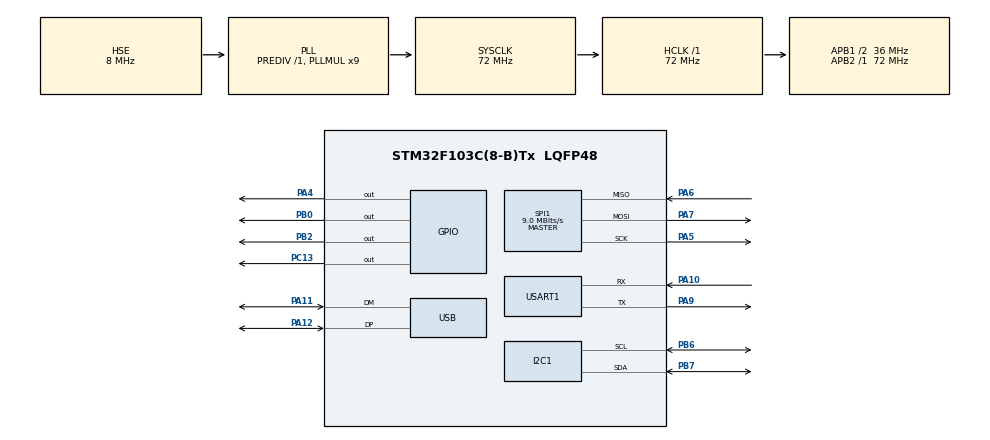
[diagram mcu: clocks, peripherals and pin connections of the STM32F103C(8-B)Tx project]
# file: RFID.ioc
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Mcu.Family=STM32F1
Mcu.Name=STM32F103C(8-B)Tx
Mcu.Package=LQFP48
NVIC.PriorityGroup=NVIC_PRIORITYGROUP_4
NVIC.USB_LP_CAN1_RX0_IRQn=true\:0\:0\:false\:false\:true\:false\:true\:true
PA10.Mode=Asynchronous
PA10.Signal=USART1_RX
PA11.Mode=Device
PA11.Signal=USB_DM
PA12.Mode=Device
PA12.Signal=USB_DP
PA13.Mode=Serial_Wire
PA13.Signal=SYS_JTMS-SWDIO
PA14.Mode=Serial_Wire
PA14.Signal=SYS_JTCK-SWCLK
PA4.Signal=GPIO_Output
PA5.Mode=Full_Duplex_Master
PA5.Signal=SPI1_SCK
PA6.Mode=Full_Duplex_Master
PA6.Signal=SPI1_MISO
PA7.Mode=Full_Duplex_Master
PA7.Signal=SPI1_MOSI
PA9.Mode=Asynchronous
PA9.Signal=USART1_TX
PB0.Signal=GPIO_Output
PB2.Signal=GPIO_Output
PB6.Mode=I2C
PB6.Signal=I2C1_SCL
PB7.Mode=I2C
PB7.Signal=I2C1_SDA
PC13-TAMPER-RTC.Signal=GPIO_Output
PD0-OSC_IN.Mode=HSE-External-Oscillator
PD0-OSC_IN.Signal=RCC_OSC_IN
PD1-OSC_OUT.Mode=HSE-External-Oscillator
PD1-OSC_OUT.Signal=RCC_OSC_OUT
ProjectManager.HeapSize=0x200
ProjectManager.StackSize=0x400
ProjectManager.TargetToolchain=STM32CubeIDE
RCC.AHBFreq_Value=72000000
RCC.APB1CLKDivider=RCC_HCLK_DIV2
RCC.APB1Freq_Value=36000000
RCC.APB1TimFreq_Value=72000000
RCC.APB2Freq_Value=72000000
RCC.APB2TimFreq_Value=72000000
RCC.HCLKFreq_Value=72000000
RCC.PLLMUL=RCC_PLL_MUL9
RCC.PLLSourceVirtual=RCC_PLLSOURCE_HSE
RCC.SYSCLKFreq_VALUE=72000000
RCC.SYSCLKSource=RCC_SYSCLKSOURCE_PLLCLK
RCC.USBFreq_Value=48000000
RCC.USBPrescaler=RCC_USBCLKSOURCE_PLL_DIV1_5
SPI1.BaudRatePrescaler=SPI_BAUDRATEPRESCALER_8
SPI1.CalculateBaudRate=9.0 MBits/s
SPI1.Direction=SPI_DIRECTION_2LINES
SPI1.Mode=SPI_MODE_MASTER
SPI1.VirtualType=VM_MASTER
USART1.VirtualMode=VM_ASYNC
USB_DEVICE.CLASS_NAME_FS=HID
USB_DEVICE.VirtualMode=Hid
USB_DEVICE.VirtualModeFS=Hid_FS
VP_USB_DEVICE_VS_USB_DEVICE_HID_FS.Mode=HID_FS
board=custom

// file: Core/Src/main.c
/* USER CODE BEGIN Header */
/**
  ******************************************************************************
  * @file           : main.c
  * @brief          : Main program body
  ******************************************************************************
  */
/* USER CODE END Header */
#include "main.h"
#include "usb_device.h"

/* USER CODE BEGIN Includes */
#include "rc522.h"
#include "BME280_STM.h"
#include <stdio.h>
#include <string.h>
#include <stdlib.h>
#include "usbd_hid.h"      // CHANGED: Added HID Library instead of CDC
/* USER CODE END Includes */

I2C_HandleTypeDef hi2c1;

SPI_HandleTypeDef hspi1;

UART_HandleTypeDef huart1;

/* USER CODE BEGIN PV */
volatile uint8_t ping_EC = 255;
volatile uint8_t ping_EE = 255;

float Temperature, Pressure, Humidity;
uint8_t status;
uint8_t str[16];
uint8_t sNum[5];

// Tell main.c that the USB handle exists in the background
extern USBD_HandleTypeDef hUsbDeviceFS;
/* USER CODE END PV */

void SystemClock_Config(void);
static void MX_GPIO_Init(void);
static void MX_SPI1_Init(void);
static void MX_I2C1_Init(void);
static void MX_USART1_UART_Init(void);

/* USER CODE BEGIN 0 */

// --- THE PHANTOM KEYBOARD ENGINE ---

// Function to press and release a single key
void Keyboard_Press_Key(uint8_t modifier, uint8_t keycode) {
    uint8_t report[8] = {0, 0, 0, 0, 0, 0, 0, 0};

    // Press the key
    report[0] = modifier; // Shift, Ctrl, etc.
    report[2] = keycode;  // The actual key
    USBD_HID_SendReport(&hUsbDeviceFS, report, sizeof(report));
    HAL_Delay(15);        // 15ms delay so Android registers the press

    // Release all keys
    uint8_t release_report[8] = {0};
    USBD_HID_SendReport(&hUsbDeviceFS, release_report, sizeof(release_report));
    HAL_Delay(15);        // 15ms delay so Android registers the release
}

// Function to translate your cattle data string into keyboard presses
void Keyboard_Type_String(char* str) {
    while (*str) {
        char c = *str;
        uint8_t modifier = 0x00;
        uint8_t keycode = 0x00;

        // Map Numbers (1-9 and 0)
        if (c >= '1' && c <= '9') {
            keycode = 0x1E + (c - '1'); // 0x1E is '1'
        } else if (c == '0') {
            keycode = 0x27; // 0x27 is '0'
        }
        // Map Decimal Point '.'
        else if (c == '.') {
            keycode = 0x37;
        }
        // Map the Pipe symbol '|' (Requires holding Shift)
        else if (c == '|') {
            modifier = 0x02; // Left Shift
            keycode = 0x31;  // Backslash key '\'
        }

        // Fire the keystroke if valid
        if (keycode != 0x00) {
            Keyboard_Press_Key(modifier, keycode);
        }
        str++;
    }

    // Always hit ENTER at the end to trigger the React Native app!
    Keyboard_Press_Key(0x00, 0x28); // 0x28 is the Enter key
}
/* USER CODE END 0 */

int main(void)
{

  /* MCU Configuration--------------------------------------------------------*/

  /* Reset of all peripherals, Initializes the Flash interface and the Systick. */
  HAL_Init();

  /* Configure the system clock */
  SystemClock_Config();

  /* Initialize all configured peripherals */
  MX_GPIO_Init();
  MX_SPI1_Init();
  MX_I2C1_Init();
  MX_USB_DEVICE_Init();
  MX_USART1_UART_Init();
  /* USER CODE BEGIN 2 */
  ping_EC = HAL_I2C_IsDeviceReady(&hi2c1, 0xEC, 3, 100);
  ping_EE = HAL_I2C_IsDeviceReady(&hi2c1, 0xEE, 3, 100);

  // Initialize the RFID Scanner
  MFRC522_Init();

  // Initialize the Temp Sensor (Normal Mode, 0.5ms standby)
  BME280_Config(OSRS_2, OSRS_16, OSRS_1, MODE_NORMAL, T_SB_0p5, IIR_16);
  /* USER CODE END 2 */

  /* Infinite loop */
  /* USER CODE BEGIN WHILE */

  while (1)
  {
      // 1. Constantly update the background environment temperature
      BME280_Measure(&Temperature, &Pressure, &Humidity);

      // 2. Poll for an RFID tag swipe
      status = MFRC522_Request(PICC_REQIDL, str);

      if (status == MI_OK)
      {
          // Tag detected! Extract the ACTUAL factory UID
          status = MFRC522_Anticoll(str);

          if (status == MI_OK)
          {
              char scanData[32];

              // 3. FORMAT THE DATA STRING for React Native (ID|Temperature)
              sprintf(scanData, "%d|%.1f", str[0], Temperature);

              // 4. FIRE THE ELECTRONIC KEYSTROKES TO THE PHONE
              Keyboard_Type_String(scanData);

              // 5. Blink LED for physical visual feedback
              HAL_GPIO_WritePin(GPIOB, GPIO_PIN_2, GPIO_PIN_SET);
              HAL_Delay(300);
              HAL_GPIO_WritePin(GPIOB, GPIO_PIN_2, GPIO_PIN_RESET);

              // 6. Wait 2 seconds before allowing the next tag read
              HAL_Delay(2000);
          }
      }

      // Small delay to keep the I2C/SPI buses stable
      HAL_Delay(50);

    /* USER CODE END WHILE */

  }
}

void SystemClock_Config(void)
{
  RCC_OscInitTypeDef RCC_OscInitStruct = {0};
  RCC_ClkInitTypeDef RCC_ClkInitStruct = {0};
  RCC_PeriphCLKInitTypeDef PeriphClkInit = {0};

  /** Initializes the RCC Oscillators according to the specified parameters
  * in the RCC_OscInitTypeDef structure.
  */
  RCC_OscInitStruct.OscillatorType = RCC_OSCILLATORTYPE_HSE;
  RCC_OscInitStruct.HSEState = RCC_HSE_ON;
  RCC_OscInitStruct.HSEPredivValue = RCC_HSE_PREDIV_DIV1;
  RCC_OscInitStruct.HSIState = RCC_HSI_ON;
  RCC_OscInitStruct.PLL.PLLState = RCC_PLL_ON;
  RCC_OscInitStruct.PLL.PLLSource = RCC_PLLSOURCE_HSE;
  RCC_OscInitStruct.PLL.PLLMUL = RCC_PLL_MUL9;
  if (HAL_RCC_OscConfig(&RCC_OscInitStruct) != HAL_OK)
  {
    Error_Handler();
  }

  /** Initializes the CPU, AHB and APB buses clocks
  */
  RCC_ClkInitStruct.ClockType = RCC_CLOCKTYPE_HCLK|RCC_CLOCKTYPE_SYSCLK
                              |RCC_CLOCKTYPE_PCLK1|RCC_CLOCKTYPE_PCLK2;
  RCC_ClkInitStruct.SYSCLKSource = RCC_SYSCLKSOURCE_PLLCLK;
  RCC_ClkInitStruct.AHBCLKDivider = RCC_SYSCLK_DIV1;
  RCC_ClkInitStruct.APB1CLKDivider = RCC_HCLK_DIV2;
  RCC_ClkInitStruct.APB2CLKDivider = RCC_HCLK_DIV1;

  if (HAL_RCC_ClockConfig(&RCC_ClkInitStruct, FLASH_LATENCY_2) != HAL_OK)
  {
    Error_Handler();
  }
  PeriphClkInit.PeriphClockSelection = RCC_PERIPHCLK_USB;
  PeriphClkInit.UsbClockSelection = RCC_USBCLKSOURCE_PLL_DIV1_5;
  if (HAL_RCCEx_PeriphCLKConfig(&PeriphClkInit) != HAL_OK)
  {
    Error_Handler();
  }
}

static void MX_I2C1_Init(void)
{

  hi2c1.Instance = I2C1;
  hi2c1.Init.ClockSpeed = 100000;
  hi2c1.Init.DutyCycle = I2C_DUTYCYCLE_2;
  hi2c1.Init.OwnAddress1 = 0;
  hi2c1.Init.AddressingMode = I2C_ADDRESSINGMODE_7BIT;
  hi2c1.Init.DualAddressMode = I2C_DUALADDRESS_DISABLE;
  hi2c1.Init.OwnAddress2 = 0;
  hi2c1.Init.GeneralCallMode = I2C_GENERALCALL_DISABLE;
  hi2c1.Init.NoStretchMode = I2C_NOSTRETCH_DISABLE;
  if (HAL_I2C_Init(&hi2c1) != HAL_OK)
  {
    Error_Handler();
  }

}

static void MX_SPI1_Init(void)
{

  /* SPI1 parameter configuration*/
  hspi1.Instance = SPI1;
  hspi1.Init.Mode = SPI_MODE_MASTER;
  hspi1.Init.Direction = SPI_DIRECTION_2LINES;
  hspi1.Init.DataSize = SPI_DATASIZE_8BIT;
  hspi1.Init.CLKPolarity = SPI_POLARITY_LOW;
  hspi1.Init.CLKPhase = SPI_PHASE_1EDGE;
  hspi1.Init.NSS = SPI_NSS_SOFT;
  hspi1.Init.BaudRatePrescaler = SPI_BAUDRATEPRESCALER_8;
  hspi1.Init.FirstBit = SPI_FIRSTBIT_MSB;
  hspi1.Init.TIMode = SPI_TIMODE_DISABLE;
  hspi1.Init.CRCCalculation = SPI_CRCCALCULATION_DISABLE;
  hspi1.Init.CRCPolynomial = 10;
  if (HAL_SPI_Init(&hspi1) != HAL_OK)
  {
    Error_Handler();
  }

}

static void MX_USART1_UART_Init(void)
{

  huart1.Instance = USART1;
  huart1.Init.BaudRate = 115200;
  huart1.Init.WordLength = UART_WORDLENGTH_8B;
  huart1.Init.StopBits = UART_STOPBITS_1;
  huart1.Init.Parity = UART_PARITY_NONE;
  huart1.Init.Mode = UART_MODE_TX_RX;
  huart1.Init.HwFlowCtl = UART_HWCONTROL_NONE;
  huart1.Init.OverSampling = UART_OVERSAMPLING_16;
  if (HAL_UART_Init(&huart1) != HAL_OK)
  {
    Error_Handler();
  }

}

static void MX_GPIO_Init(void)
{
  GPIO_InitTypeDef GPIO_InitStruct = {0};

  /* GPIO Ports Clock Enable */
  __HAL_RCC_GPIOC_CLK_ENABLE();
  __HAL_RCC_GPIOD_CLK_ENABLE();
  __HAL_RCC_GPIOA_CLK_ENABLE();
  __HAL_RCC_GPIOB_CLK_ENABLE();

  /*Configure GPIO pin Output Level */
  HAL_GPIO_WritePin(GPIOC, GPIO_PIN_13, GPIO_PIN_RESET);

  /*Configure GPIO pin Output Level */
  HAL_GPIO_WritePin(GPIOA, GPIO_PIN_4, GPIO_PIN_RESET);

  /*Configure GPIO pin Output Level */
  HAL_GPIO_WritePin(GPIOB, GPIO_PIN_0|GPIO_PIN_2, GPIO_PIN_RESET);

  /*Configure GPIO pin : PC13 */
  GPIO_InitStruct.Pin = GPIO_PIN_13;
  GPIO_InitStruct.Mode = GPIO_MODE_OUTPUT_PP;
  GPIO_InitStruct.Pull = GPIO_NOPULL;
  GPIO_InitStruct.Speed = GPIO_SPEED_FREQ_LOW;
  HAL_GPIO_Init(GPIOC, &GPIO_InitStruct);

  /*Configure GPIO pin : PA4 */
  GPIO_InitStruct.Pin = GPIO_PIN_4;
  GPIO_InitStruct.Mode = GPIO_MODE_OUTPUT_PP;
  GPIO_InitStruct.Pull = GPIO_NOPULL;
  GPIO_InitStruct.Speed = GPIO_SPEED_FREQ_LOW;
  HAL_GPIO_Init(GPIOA, &GPIO_InitStruct);

  /*Configure GPIO pins : PB0 PB2 */
  GPIO_InitStruct.Pin = GPIO_PIN_0|GPIO_PIN_2;
  GPIO_InitStruct.Mode = GPIO_MODE_OUTPUT_PP;
  GPIO_InitStruct.Pull = GPIO_NOPULL;
  GPIO_InitStruct.Speed = GPIO_SPEED_FREQ_LOW;
  HAL_GPIO_Init(GPIOB, &GPIO_InitStruct);

}

void Error_Handler(void)
{
  __disable_irq();
  while (1)
  {
  }
}
